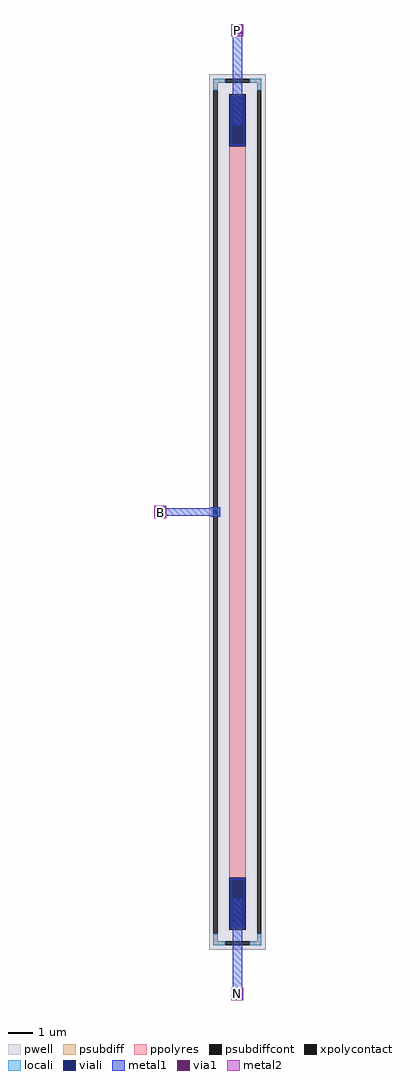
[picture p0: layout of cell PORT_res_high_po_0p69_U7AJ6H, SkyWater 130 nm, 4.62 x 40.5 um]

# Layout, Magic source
magic
tech sky130A
magscale 1 2
use sky130_fd_pr__res_high_po_0p69_U7AJ6H XDEV
transform 1 0 0 0 1 0
box -235 -3632 235 3632
<< locali >>
rect -215 -33 -149 33
<< viali >>
rect -199 -17 -165 17
<< metal1 >>
rect -222 -40 -142 40
rect -672 -32 -150 32
rect -680 -40 -600 40
rect -40 3210 40 4040
rect -40 3960 40 4040
rect -40 -4040 40 -3210
rect -40 -4040 40 -3960
<< via1 >>
rect -670 -30 -610 30
rect -30 3970 30 4030
rect -30 -4030 30 -3970
<< metal2 >>
rect -690 -50 -590 50
rect -50 3950 50 4050
rect -50 -4050 50 -3950
<< labels >>
rlabel metal2 -670 -30 -610 30 0 B
port 1 nsew
rlabel metal2 -30 3970 30 4030 0 P
port 2 nsew
rlabel metal2 -30 -4030 30 -3970 0 N
port 3 nsew
<< end >>

# cell sky130_fd_pr__res_high_po_0p69_U7AJ6H: kit device sky130_fd_pr__res_high_po_0p69, w 0.690 l 30.5 m 1 nx 1 wmin 0.690 lmin 0.50 rho 319.8 val 14.7k dummy 0 dw 0.0 term 194.82 sterm 0.0 caplen 0 guard 1 glc 1 grc 1 gtc 1 gbc 1 compatible {sky130_fd_pr__res_high_po_0p35 sky130_fd_pr__res_high_po_0p69 sky130_fd_pr__res_high_po_1p41 sky130_fd_pr__res_high_po_2p85 sky130_fd_pr__res_high_po_5p73} snake 0 full_metal 1 wmax 0.690 n_guard 0 hv_guard 0 vias 1 viagb 0 viagt 0 viagl 0 viagr 0
